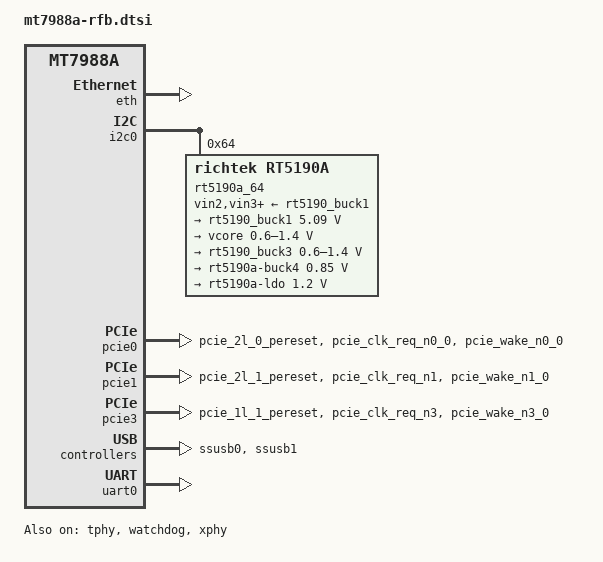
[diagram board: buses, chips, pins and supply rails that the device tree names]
// SPDX-License-Identifier: (GPL-2.0 OR MIT)
/*
 * Copyright (C) 2022 MediaTek Inc.
 * Author: Sam.Shih <sam.shih@mediatek.com>
 */

/dts-v1/;
#include "mt7988a.dtsi"
#include <dt-bindings/regulator/richtek,rt5190a-regulator.h>

&cpu0 {
	proc-supply = <&rt5190_buck3>;
};

&cpu1 {
	proc-supply = <&rt5190_buck3>;
};

&cpu2 {
	proc-supply = <&rt5190_buck3>;
};

&cpu3 {
	proc-supply = <&rt5190_buck3>;
};

&cci {
	proc-supply = <&rt5190_buck3>;
};

&eth {
	status = "okay";
};

&i2c0 {
	pinctrl-names = "default";
	pinctrl-0 = <&i2c0_pins>;
	status = "okay";

	rt5190a_64: rt5190a@64 {
		compatible = "richtek,rt5190a";
		reg = <0x64>;
		/*interrupts-extended = <&gpio26 0 IRQ_TYPE_LEVEL_LOW>;*/
		vin2-supply = <&rt5190_buck1>;
		vin3-supply = <&rt5190_buck1>;
		vin4-supply = <&rt5190_buck1>;

		regulators {
			rt5190_buck1: buck1 {
				regulator-name = "rt5190a-buck1";
				regulator-min-microvolt = <5090000>;
				regulator-max-microvolt = <5090000>;
				regulator-allowed-modes =
				<RT5190A_OPMODE_AUTO RT5190A_OPMODE_FPWM>;
				regulator-boot-on;
				regulator-always-on;
			};
			buck2 {
				regulator-name = "vcore";
				regulator-min-microvolt = <600000>;
				regulator-max-microvolt = <1400000>;
				regulator-boot-on;
				regulator-always-on;
			};
			rt5190_buck3: buck3 {
				regulator-name = "vproc";
				regulator-min-microvolt = <600000>;
				regulator-max-microvolt = <1400000>;
				regulator-boot-on;
			};
			buck4 {
				regulator-name = "rt5190a-buck4";
				regulator-min-microvolt = <850000>;
				regulator-max-microvolt = <850000>;
				regulator-allowed-modes =
				<RT5190A_OPMODE_AUTO RT5190A_OPMODE_FPWM>;
				regulator-boot-on;
				regulator-always-on;
			};
			ldo {
				regulator-name = "rt5190a-ldo";
				regulator-min-microvolt = <1200000>;
				regulator-max-microvolt = <1200000>;
				regulator-boot-on;
				regulator-always-on;
			};
		};
	};
};

&pcie0 {
	pinctrl-names = "default";
	pinctrl-0 = <&pcie0_pins>;
	status = "okay";
};

&pcie1 {
	pinctrl-names = "default";
	pinctrl-0 = <&pcie1_pins>;
	status = "okay";
};

&pcie2 {
	pinctrl-names = "default";
	pinctrl-0 = <&pcie2_pins>;
	status = "disabled";
};

&pcie3 {
	pinctrl-names = "default";
	pinctrl-0 = <&pcie3_pins>;
	status = "okay";
};

&ssusb0 {
	status = "okay";
};

&ssusb1 {
	status = "okay";
};

&tphy {
	status = "okay";
};

&pio {
	pcie0_pins: pcie0-pins {
		mux {
			function = "pcie";
			groups = "pcie_2l_0_pereset", "pcie_clk_req_n0_0",
				 "pcie_wake_n0_0";
		};
	};

	pcie1_pins: pcie1-pins {
		mux {
			function = "pcie";
			groups = "pcie_2l_1_pereset", "pcie_clk_req_n1",
				 "pcie_wake_n1_0";
		};
	};

	pcie2_pins: pcie2-pins {
		mux {
			function = "pcie";
			groups = "pcie_1l_0_pereset", "pcie_clk_req_n2_0",
				 "pcie_wake_n2_0";
		};
	};

	pcie3_pins: pcie3-pins {
		mux {
			function = "pcie";
			groups = "pcie_1l_1_pereset", "pcie_clk_req_n3",
				 "pcie_wake_n3_0";
		};
	};
};

&spi0 {
	status = "disabled";
};

&uart0 {
	status = "okay";
};

&watchdog {
	status = "okay";
};

&xphy {
	status = "okay";
};
